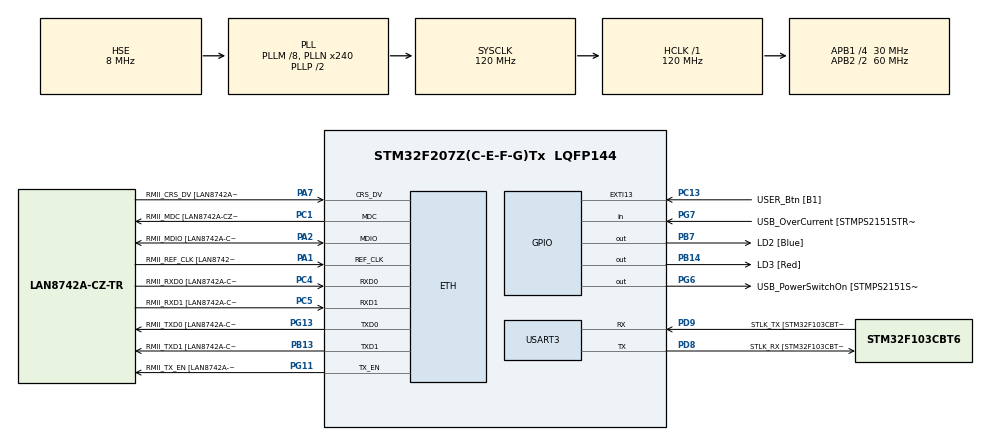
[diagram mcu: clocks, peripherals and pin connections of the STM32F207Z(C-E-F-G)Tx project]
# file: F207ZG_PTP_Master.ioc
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ETH.MACAddr=00\:80\:E1\:00\:00\:01
ETH.MediaInterface=ETH_MEDIA_INTERFACE_RMII
ETH.PHY_Name=LAN8742A_PHY_ADDRESS
ETH.PHY_Value=0
ETH.PhyAddress=0
ETH.RxMode=ETH_RXINTERRUPT_MODE
FREERTOS.Tasks01=startTask,-2,128,StartTask,Default,NULL,Dynamic,NULL,NULL
FREERTOS.Timers01=myTimer01,Callback01,osTimerPeriodic,Default,NULL,Dynamic,NULL
FREERTOS.configMAX_TASK_NAME_LEN=25
FREERTOS.configUSE_TIMERS=1
LWIP.LWIP_DNS=1
LWIP.Version=v2.0.3_Cube
Mcu.Family=STM32F2
Mcu.Name=STM32F207Z(C-E-F-G)Tx
Mcu.Package=LQFP144
NVIC.ETH_IRQn=true\:5\:0\:false\:false\:true\:true\:true\:true
NVIC.PriorityGroup=NVIC_PRIORITYGROUP_4
NVIC.TIM1_UP_TIM10_IRQn=true\:0\:0\:false\:false\:true\:false\:false\:true
NVIC.TimeBase=TIM1_UP_TIM10_IRQn
NVIC.TimeBaseIP=TIM1
PA1.GPIO_Label=RMII_REF_CLK [LAN8742A-CZ-TR_REFCLK0]
PA1.Mode=RMII
PA1.Signal=ETH_REF_CLK
PA13.GPIO_Label=TMS
PA13.Mode=Serial_Wire
PA13.Signal=SYS_JTMS-SWDIO
PA14.GPIO_Label=TCK
PA14.Mode=Serial_Wire
PA14.Signal=SYS_JTCK-SWCLK
PA2.GPIO_Label=RMII_MDIO [LAN8742A-CZ-TR_MDIO]
PA2.Mode=RMII
PA2.Signal=ETH_MDIO
PA7.GPIO_Label=RMII_CRS_DV [LAN8742A-CZ-TR_CRS_DV]
PA7.Mode=RMII
PA7.Signal=ETH_CRS_DV
PB13.GPIO_Label=RMII_TXD1 [LAN8742A-CZ-TR_TXD1]
PB13.Mode=RMII
PB13.Signal=ETH_TXD1
PB14.GPIO_Label=LD3 [Red]
PB14.Signal=GPIO_Output
PB3.GPIO_Label=SWO
PB3.Signal=SYS_JTDO-SWO
PB7.GPIO_Label=LD2 [Blue]
PB7.Signal=GPIO_Output
PC1.GPIO_Label=RMII_MDC [LAN8742A-CZ-TR_MDC]
PC1.Mode=RMII
PC1.Signal=ETH_MDC
PC13.GPIO_Label=USER_Btn [B1]
PC13.Signal=GPXTI13
PC14-OSC32_IN.Mode=LSE-External-Oscillator
PC14-OSC32_IN.Signal=RCC_OSC32_IN
PC15-OSC32_OUT.Mode=LSE-External-Oscillator
PC15-OSC32_OUT.Signal=RCC_OSC32_OUT
PC4.GPIO_Label=RMII_RXD0 [LAN8742A-CZ-TR_RXD0]
PC4.Mode=RMII
PC4.Signal=ETH_RXD0
PC5.GPIO_Label=RMII_RXD1 [LAN8742A-CZ-TR_RXD1]
PC5.Mode=RMII
PC5.Signal=ETH_RXD1
PD8.GPIO_Label=STLK_RX [STM32F103CBT6_PA3]
PD8.Mode=Asynchronous
PD8.Signal=USART3_TX
PD9.GPIO_Label=STLK_TX [STM32F103CBT6_PA2]
PD9.Mode=Asynchronous
PD9.Signal=USART3_RX
PG11.GPIO_Label=RMII_TX_EN [LAN8742A-CZ-TR_TXEN]
PG11.Mode=RMII
PG11.Signal=ETH_TX_EN
PG13.GPIO_Label=RMII_TXD0 [LAN8742A-CZ-TR_TXD0]
PG13.Mode=RMII
PG13.Signal=ETH_TXD0
PG6.GPIO_Label=USB_PowerSwitchOn [STMPS2151STR_EN]
PG6.Signal=GPIO_Output
PG7.GPIO_Label=USB_OverCurrent [STMPS2151STR_FAULT]
PG7.Signal=GPIO_Input
PH0-OSC_IN.GPIO_Label=MCO [STM32F103CBT6_PA8]
PH0-OSC_IN.Mode=HSE-External-Oscillator
PH0-OSC_IN.Signal=RCC_OSC_IN
PH1-OSC_OUT.Mode=HSE-External-Oscillator
PH1-OSC_OUT.Signal=RCC_OSC_OUT
ProjectManager.HeapSize=0x200
ProjectManager.StackSize=0x400
ProjectManager.TargetToolchain=STM32CubeIDE
RCC.48MHZClocksFreq_Value=48000000
RCC.AHBFreq_Value=120000000
RCC.APB1CLKDivider=RCC_HCLK_DIV4
RCC.APB1Freq_Value=30000000
RCC.APB1TimFreq_Value=60000000
RCC.APB2CLKDivider=RCC_HCLK_DIV2
RCC.APB2Freq_Value=60000000
RCC.APB2TimFreq_Value=120000000
RCC.CortexFreq_Value=120000000
RCC.HCLKFreq_Value=120000000
RCC.HSE_VALUE=8000000
RCC.HSI_VALUE=16000000
RCC.PLLM=8
RCC.PLLMUL=RCC_PLL_MUL9
RCC.PLLN=240
RCC.PLLQ=5
RCC.PLLSourceVirtual=RCC_PLLSOURCE_HSE
RCC.PRESCALERUSB=RCC_USBCLKSOURCE_PLL_DIV1_5
RCC.SYSCLKFreq_VALUE=120000000
RCC.SYSCLKSource=RCC_SYSCLKSOURCE_PLLCLK
RCC.SYSCLKSourceVirtual=RCC_SYSCLKSOURCE_PLLCLK
RCC.USBFreq_Value=48000000
RCC.VCOOutputFreq_Value=240000000
USART3.VirtualMode=VM_ASYNC
VP_FREERTOS_VS_CMSIS_V1.Mode=CMSIS_V1
VP_LWIP_VS_Enabled.Mode=Enabled
VP_SYS_VS_tim1.Mode=TIM1
board=NUCLEO-F207ZG

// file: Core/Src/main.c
/* USER CODE BEGIN Header */
/**
 ******************************************************************************
 * @file           : main.c
 * @brief          : Main program body
 ******************************************************************************
 * @attention
 *
 * <h2><center>&copy; Copyright (c) 2021 STMicroelectronics.
 * All rights reserved.</center></h2>
 *
 * This software component is licensed by ST under Ultimate Liberty license
 * SLA0044, the "License"; You may not use this file except in compliance with
 * the License. You may obtain a copy of the License at:
 *                             www.st.com/SLA0044
 *
 ******************************************************************************
 */
/* USER CODE END Header */
#include "main.h"
#include "cmsis_os.h"
#include "lwip.h"

/* USER CODE BEGIN Includes */
#include "../../TCP_app/tcp_client.h"
#include "../../Middlewares/Third_Party/ptpd-2.0.0/src/ptpd.h"
/* USER CODE END Includes */

UART_HandleTypeDef huart3;

osThreadId startTaskHandle;
osTimerId myTimer01Handle;
/* USER CODE BEGIN PV */
osThreadId TCPTaskHandle;
/* USER CODE END PV */

void SystemClock_Config(void);
static void MX_GPIO_Init(void);
static void MX_USART3_UART_Init(void);
void StartTask(void const *argument);
void Callback01(void const *argument);

/* USER CODE BEGIN 0 */
#ifdef __GNUC__
#define PUTCHAR_PROTOTYPE int __io_putchar(int ch)
#else
#define PUTCHAR_PROTOTYPE int fputc(int ch, FILE *f)
#endif
PUTCHAR_PROTOTYPE
{
	//HAL_UART_Transmit(&huart1 , (uint8_t *)&ch, 1 , 0xffff);
	while ((USART3->SR & 0X40) == 0)
		;
	USART3->DR = (uint8_t) ch;
	return ch;
}
/* USER CODE END 0 */

int main(void)
{

	/* MCU Configuration--------------------------------------------------------*/

	/* Reset of all peripherals, Initializes the Flash interface and the Systick. */
	HAL_Init();

	/* Configure the system clock */
	SystemClock_Config();

	/* Initialize all configured peripherals */
	MX_GPIO_Init();
	MX_USART3_UART_Init();

	/* Create the timer(s) */
	/* definition and creation of myTimer01 */
	osTimerDef(myTimer01, Callback01);
	myTimer01Handle = osTimerCreate(osTimer(myTimer01), osTimerPeriodic, NULL);

	/* Create the thread(s) */
	/* definition and creation of startTask */
	osThreadDef(startTask, StartTask, osPriorityLow, 0, 128);
	startTaskHandle = osThreadCreate(osThread(startTask), NULL);

	/* Start scheduler */
	osKernelStart();

	/* We should never get here as control is now taken by the scheduler */
	/* Infinite loop */
	while (1)
	{

	}
}

void SystemClock_Config(void)
{
	RCC_OscInitTypeDef RCC_OscInitStruct =
	{ 0 };
	RCC_ClkInitTypeDef RCC_ClkInitStruct =
	{ 0 };

	/** Initializes the RCC Oscillators according to the specified parameters
	 * in the RCC_OscInitTypeDef structure.
	 */
	RCC_OscInitStruct.OscillatorType = RCC_OSCILLATORTYPE_HSE;
	RCC_OscInitStruct.HSEState = RCC_HSE_ON;
	RCC_OscInitStruct.PLL.PLLState = RCC_PLL_ON;
	RCC_OscInitStruct.PLL.PLLSource = RCC_PLLSOURCE_HSE;
	RCC_OscInitStruct.PLL.PLLM = 8;
	RCC_OscInitStruct.PLL.PLLN = 240;
	RCC_OscInitStruct.PLL.PLLP = RCC_PLLP_DIV2;
	RCC_OscInitStruct.PLL.PLLQ = 5;
	if (HAL_RCC_OscConfig(&RCC_OscInitStruct) != HAL_OK)
	{
		Error_Handler();
	}
	/** Initializes the CPU, AHB and APB buses clocks
	 */
	RCC_ClkInitStruct.ClockType = RCC_CLOCKTYPE_HCLK | RCC_CLOCKTYPE_SYSCLK
			| RCC_CLOCKTYPE_PCLK1 | RCC_CLOCKTYPE_PCLK2;
	RCC_ClkInitStruct.SYSCLKSource = RCC_SYSCLKSOURCE_PLLCLK;
	RCC_ClkInitStruct.AHBCLKDivider = RCC_SYSCLK_DIV1;
	RCC_ClkInitStruct.APB1CLKDivider = RCC_HCLK_DIV4;
	RCC_ClkInitStruct.APB2CLKDivider = RCC_HCLK_DIV2;

	if (HAL_RCC_ClockConfig(&RCC_ClkInitStruct, FLASH_LATENCY_3) != HAL_OK)
	{
		Error_Handler();
	}
}

static void MX_USART3_UART_Init(void)
{

	huart3.Instance = USART3;
	huart3.Init.BaudRate = 115200;
	huart3.Init.WordLength = UART_WORDLENGTH_8B;
	huart3.Init.StopBits = UART_STOPBITS_1;
	huart3.Init.Parity = UART_PARITY_NONE;
	huart3.Init.Mode = UART_MODE_TX_RX;
	huart3.Init.HwFlowCtl = UART_HWCONTROL_NONE;
	huart3.Init.OverSampling = UART_OVERSAMPLING_16;
	if (HAL_UART_Init(&huart3) != HAL_OK)
	{
		Error_Handler();
	}

}

static void MX_GPIO_Init(void)
{
	GPIO_InitTypeDef GPIO_InitStruct =
	{ 0 };

	/* GPIO Ports Clock Enable */
	__HAL_RCC_GPIOC_CLK_ENABLE();
	__HAL_RCC_GPIOH_CLK_ENABLE();
	__HAL_RCC_GPIOA_CLK_ENABLE();
	__HAL_RCC_GPIOB_CLK_ENABLE();
	__HAL_RCC_GPIOD_CLK_ENABLE();
	__HAL_RCC_GPIOG_CLK_ENABLE();

	/*Configure GPIO pin Output Level */
	HAL_GPIO_WritePin(GPIOB, LD3_Pin | LD2_Pin, GPIO_PIN_RESET);

	/*Configure GPIO pin Output Level */
	HAL_GPIO_WritePin(USB_PowerSwitchOn_GPIO_Port, USB_PowerSwitchOn_Pin,
			GPIO_PIN_RESET);

	/*Configure GPIO pin : USER_Btn_Pin */
	GPIO_InitStruct.Pin = USER_Btn_Pin;
	GPIO_InitStruct.Mode = GPIO_MODE_IT_RISING;
	GPIO_InitStruct.Pull = GPIO_NOPULL;
	HAL_GPIO_Init(USER_Btn_GPIO_Port, &GPIO_InitStruct);

	/*Configure GPIO pins : LD3_Pin LD2_Pin */
	GPIO_InitStruct.Pin = LD3_Pin | LD2_Pin;
	GPIO_InitStruct.Mode = GPIO_MODE_OUTPUT_PP;
	GPIO_InitStruct.Pull = GPIO_NOPULL;
	GPIO_InitStruct.Speed = GPIO_SPEED_FREQ_LOW;
	HAL_GPIO_Init(GPIOB, &GPIO_InitStruct);

	/*Configure GPIO pin : USB_PowerSwitchOn_Pin */
	GPIO_InitStruct.Pin = USB_PowerSwitchOn_Pin;
	GPIO_InitStruct.Mode = GPIO_MODE_OUTPUT_PP;
	GPIO_InitStruct.Pull = GPIO_NOPULL;
	GPIO_InitStruct.Speed = GPIO_SPEED_FREQ_LOW;
	HAL_GPIO_Init(USB_PowerSwitchOn_GPIO_Port, &GPIO_InitStruct);

	/*Configure GPIO pin : USB_OverCurrent_Pin */
	GPIO_InitStruct.Pin = USB_OverCurrent_Pin;
	GPIO_InitStruct.Mode = GPIO_MODE_INPUT;
	GPIO_InitStruct.Pull = GPIO_NOPULL;
	HAL_GPIO_Init(USB_OverCurrent_GPIO_Port, &GPIO_InitStruct);

}

void StartTask(void const *argument)
{
	/* init code for LWIP */
	MX_LWIP_Init();
	/* USER CODE BEGIN 5 */
	UBaseType_t restStack = 0;
	osDelay(3000);

	//  osThreadDef(TCPClient, tcp_client_task, osPriorityNormal, 0, 2048);
	//  TCPTaskHandle = osThreadCreate(osThread(TCPClient), NULL);

	osThreadId ptpTaskHandle = ptpd_init();
	/* Infinite loop */
	for (;;)
	{
		//restStack = uxTaskGetStackHighWaterMark(ptpTaskHandle);
		//uxTaskGetStackHighWaterMark(ptpTaskHandle);
		printf("PTP task rest stack:%d byte\n", restStack * 4);
		osDelay(20000);
	}
	/* USER CODE END 5 */
}

/* Callback01 function */
void Callback01(void const *argument)
{
}

void HAL_TIM_PeriodElapsedCallback(TIM_HandleTypeDef *htim)
{
	if (htim->Instance == TIM1)
	{
		HAL_IncTick();
	}
}

void Error_Handler(void)
{
	__disable_irq();
	while (1)
	{
	}
}

/************************ (C) COPYRIGHT STMicroelectronics *****END OF FILE****/
